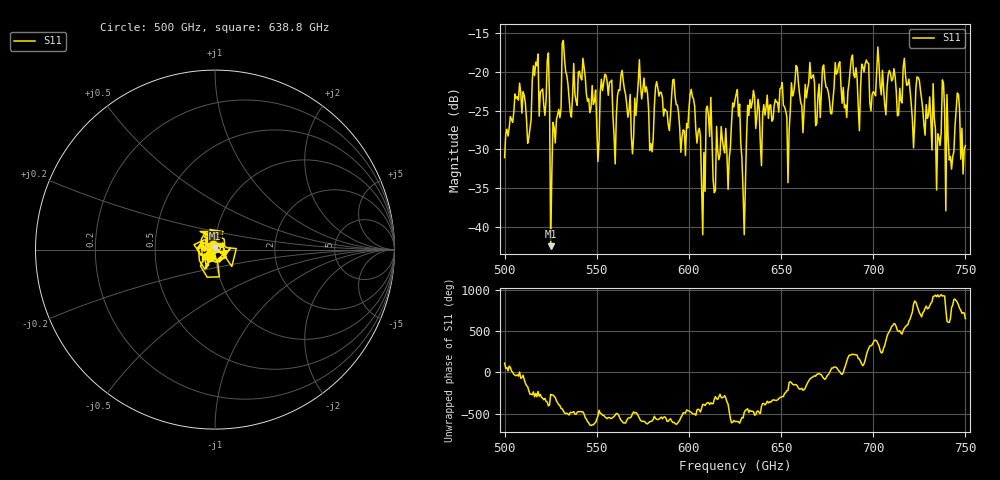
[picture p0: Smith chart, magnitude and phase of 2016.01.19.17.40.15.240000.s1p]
!Created with skrf (http://scikit-rf.org).
# GHz S RI R 50.0
!freq ReS11 ImS11
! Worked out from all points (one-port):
!   401 points, 500 GHz to 750 GHz, reference 50 ohm
!   lowest |S11| = -42.5 dB at 525 GHz (marker M1), VSWR 1.02, Z = 49.9 + j0.747 ohm
!   |S11| at or under -10 dB: start of sweep to end of sweep
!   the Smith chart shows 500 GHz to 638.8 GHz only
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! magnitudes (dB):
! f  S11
! 500 GHz  -31.1
! 506.9 GHz  -23.2
! 513.1 GHz  -28.5
! 516.9 GHz  -18.7
! 523.1 GHz  -18.5
! 525 GHz  -42.5
! 526.2 GHz  -26.5
! 531.2 GHz  -16.3
! 550 GHz  -27.1
! 562.5 GHz  -22.4
! 570 GHz  -28.4
! 576.2 GHz  -22.6
! 579.4 GHz  -29.2
! 583.1 GHz  -22.1
! 593.8 GHz  -24.3
! 596.9 GHz  -27.5
! 601.9 GHz  -23.2
! 607.5 GHz  -41.0
! 610.6 GHz  -25.7
! 614.4 GHz  -35.3
! 625 GHz  -23.6
! 629.4 GHz  -35.4
! 634.4 GHz  -23.9
! 653.8 GHz  -34.3
! 656.2 GHz  -23.1
! 687.5 GHz  -19.7
! 718.8 GHz  -21.6
! 750 GHz  -29.5
